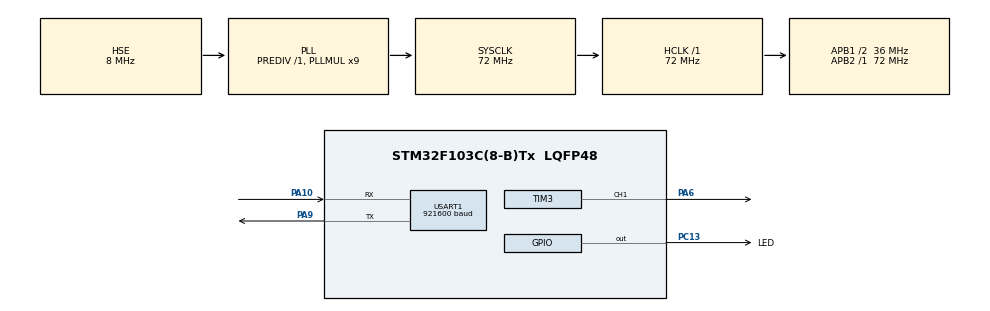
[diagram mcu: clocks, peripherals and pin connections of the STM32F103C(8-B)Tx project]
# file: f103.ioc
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Dma.Request0=TIM3_CH1/TRIG
Dma.TIM3_CH1/TRIG.0.Direction=DMA_MEMORY_TO_PERIPH
Dma.TIM3_CH1/TRIG.0.Instance=DMA1_Channel6
Dma.TIM3_CH1/TRIG.0.MemDataAlignment=DMA_MDATAALIGN_HALFWORD
Dma.TIM3_CH1/TRIG.0.MemInc=DMA_MINC_ENABLE
Dma.TIM3_CH1/TRIG.0.Mode=DMA_CIRCULAR
Dma.TIM3_CH1/TRIG.0.PeriphDataAlignment=DMA_PDATAALIGN_HALFWORD
Dma.TIM3_CH1/TRIG.0.PeriphInc=DMA_PINC_DISABLE
Dma.TIM3_CH1/TRIG.0.Priority=DMA_PRIORITY_LOW
Mcu.Family=STM32F1
Mcu.Name=STM32F103C(8-B)Tx
Mcu.Package=LQFP48
Mcu.UserConstants=LED_CNT,89
NVIC.DMA1_Channel6_IRQn=true\:0\:0\:false\:false\:true\:false\:true\:true
NVIC.PriorityGroup=NVIC_PRIORITYGROUP_4
PA10.Mode=Asynchronous
PA10.Signal=USART1_RX
PA13.Mode=Serial_Wire
PA13.Signal=SYS_JTMS-SWDIO
PA14.Mode=Serial_Wire
PA14.Signal=SYS_JTCK-SWCLK
PA6.Signal=S_TIM3_CH1
PA9.Mode=Asynchronous
PA9.Signal=USART1_TX
PC13-TAMPER-RTC.GPIO_Label=LED
PC13-TAMPER-RTC.GPIO_ModeDefaultOutputPP=GPIO_MODE_OUTPUT_OD
PC13-TAMPER-RTC.GPIO_PuPd=GPIO_NOPULL
PC13-TAMPER-RTC.PinState=GPIO_PIN_RESET
PC13-TAMPER-RTC.Signal=GPIO_Output
PD0-OSC_IN.Mode=HSE-External-Oscillator
PD0-OSC_IN.Signal=RCC_OSC_IN
PD1-OSC_OUT.Mode=HSE-External-Oscillator
PD1-OSC_OUT.Signal=RCC_OSC_OUT
ProjectManager.HeapSize=0x200
ProjectManager.StackSize=0x400
ProjectManager.TargetToolchain=STM32CubeIDE
RCC.AHBFreq_Value=72000000
RCC.APB1CLKDivider=RCC_HCLK_DIV2
RCC.APB1Freq_Value=36000000
RCC.APB1TimFreq_Value=72000000
RCC.APB2Freq_Value=72000000
RCC.APB2TimFreq_Value=72000000
RCC.HCLKFreq_Value=72000000
RCC.PLLMUL=RCC_PLL_MUL9
RCC.PLLSourceVirtual=RCC_PLLSOURCE_HSE
RCC.SYSCLKFreq_VALUE=72000000
RCC.SYSCLKSource=RCC_SYSCLKSOURCE_PLLCLK
RCC.USBFreq_Value=72000000
SH.S_TIM3_CH1.0=TIM3_CH1,PWM Generation1 CH1
TIM3.Channel-PWM\ Generation1\ CH1=TIM_CHANNEL_1
TIM3.Period=LED_CNT
USART1.BaudRate=921600
USART1.VirtualMode=VM_ASYNC
VP_TIM3_VS_ClockSourceINT.Mode=Internal
board=custom

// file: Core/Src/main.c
/* USER CODE BEGIN Header */
/**
 ******************************************************************************
 * @file           : main.c
 * @brief          : Main program body
 ******************************************************************************
 * @attention
 *
 * Copyright (c) 2022 STMicroelectronics.
 * All rights reserved.
 *
 * This software is licensed under terms that can be found in the LICENSE file
 * in the root directory of this software component.
 * If no LICENSE file comes with this software, it is provided AS-IS.
 *
 ******************************************************************************
 */
/* USER CODE END Header */
#include "main.h"

/* USER CODE BEGIN Includes */
#include "ws2812b.h"
/* USER CODE END Includes */

/* USER CODE BEGIN PD */
#define LEDS 64
/* USER CODE END PD */

TIM_HandleTypeDef htim3;
DMA_HandleTypeDef hdma_tim3_ch1_trig;

UART_HandleTypeDef huart1;

/* USER CODE BEGIN PV */

const uint8_t patterns[4][3] = {
        { 24, 0, 0 },
        { 0, 24, 0 },
        { 0, 0, 24 },
        { 10, 0, 24 }
};

uint8_t pattern = 0;

/* USER CODE END PV */

void SystemClock_Config(void);
static void MX_GPIO_Init(void);
static void MX_DMA_Init(void);
static void MX_USART1_UART_Init(void);
static void MX_TIM3_Init(void);

/* USER CODE BEGIN 0 */

// Send printf to uart1
int _write(int fd, char *ptr, int len) {
    HAL_StatusTypeDef hstatus;

    if (fd == 1 || fd == 2) {
        hstatus = HAL_UART_Transmit(&huart1, (uint8_t*) ptr, len, HAL_MAX_DELAY);
        if (hstatus == HAL_OK)
            return len;
        else
            return -1;
    }
    return -1;
}

/* USER CODE END 0 */

int main(void)
{

  /* MCU Configuration--------------------------------------------------------*/

  /* Reset of all peripherals, Initializes the Flash interface and the Systick. */
  HAL_Init();

  /* Configure the system clock */
  SystemClock_Config();

  /* Initialize all configured peripherals */
  MX_GPIO_Init();
  MX_DMA_Init();
  MX_USART1_UART_Init();
  MX_TIM3_Init();
  /* USER CODE BEGIN 2 */

    DBG("WS2812 Demo");

    ws2812b_init(&htim3, TIM_CHANNEL_1, 64);

  /* USER CODE END 2 */

  /* Infinite loop */
  /* USER CODE BEGIN WHILE */

    uint32_t now = 0, last_blink = 0, last_tick = 0, last_pattern = 0, loop_count = 0;

    while (1)
    {

        now = HAL_GetTick();

        if (now - last_pattern >= 200) {

            for (uint8_t led = 0; led < LEDS; ++led) {
                setLedValues(led, patterns[pattern][0], patterns[pattern][1], patterns[pattern][2]);
            }

            ++pattern;

            if (pattern >= sizeof(patterns) / sizeof(patterns[0]))
                pattern = 0;

            last_pattern = now;
        }

        if (now - last_blink >= 500) { // Every 500 ms
            HAL_GPIO_TogglePin(LED_GPIO_Port, LED_Pin);
            last_blink = now;
        }

        if (now - last_tick >= 1000) {
            DBG("Tick %lu (count = %lu)", now / 1000, loop_count);
            loop_count = 0;
            last_tick = now;
        }

        ++loop_count;

    /* USER CODE END WHILE */

    }
}

void SystemClock_Config(void)
{
  RCC_OscInitTypeDef RCC_OscInitStruct = {0};
  RCC_ClkInitTypeDef RCC_ClkInitStruct = {0};

  /** Initializes the RCC Oscillators according to the specified parameters
  * in the RCC_OscInitTypeDef structure.
  */
  RCC_OscInitStruct.OscillatorType = RCC_OSCILLATORTYPE_HSE;
  RCC_OscInitStruct.HSEState = RCC_HSE_ON;
  RCC_OscInitStruct.HSEPredivValue = RCC_HSE_PREDIV_DIV1;
  RCC_OscInitStruct.HSIState = RCC_HSI_ON;
  RCC_OscInitStruct.PLL.PLLState = RCC_PLL_ON;
  RCC_OscInitStruct.PLL.PLLSource = RCC_PLLSOURCE_HSE;
  RCC_OscInitStruct.PLL.PLLMUL = RCC_PLL_MUL9;
  if (HAL_RCC_OscConfig(&RCC_OscInitStruct) != HAL_OK)
  {
    Error_Handler();
  }

  /** Initializes the CPU, AHB and APB buses clocks
  */
  RCC_ClkInitStruct.ClockType = RCC_CLOCKTYPE_HCLK|RCC_CLOCKTYPE_SYSCLK
                              |RCC_CLOCKTYPE_PCLK1|RCC_CLOCKTYPE_PCLK2;
  RCC_ClkInitStruct.SYSCLKSource = RCC_SYSCLKSOURCE_PLLCLK;
  RCC_ClkInitStruct.AHBCLKDivider = RCC_SYSCLK_DIV1;
  RCC_ClkInitStruct.APB1CLKDivider = RCC_HCLK_DIV2;
  RCC_ClkInitStruct.APB2CLKDivider = RCC_HCLK_DIV1;

  if (HAL_RCC_ClockConfig(&RCC_ClkInitStruct, FLASH_LATENCY_2) != HAL_OK)
  {
    Error_Handler();
  }
}

static void MX_TIM3_Init(void)
{

  TIM_ClockConfigTypeDef sClockSourceConfig = {0};
  TIM_MasterConfigTypeDef sMasterConfig = {0};
  TIM_OC_InitTypeDef sConfigOC = {0};

  htim3.Instance = TIM3;
  htim3.Init.Prescaler = 0;
  htim3.Init.CounterMode = TIM_COUNTERMODE_UP;
  htim3.Init.Period = LED_CNT;
  htim3.Init.ClockDivision = TIM_CLOCKDIVISION_DIV1;
  htim3.Init.AutoReloadPreload = TIM_AUTORELOAD_PRELOAD_DISABLE;
  if (HAL_TIM_Base_Init(&htim3) != HAL_OK)
  {
    Error_Handler();
  }
  sClockSourceConfig.ClockSource = TIM_CLOCKSOURCE_INTERNAL;
  if (HAL_TIM_ConfigClockSource(&htim3, &sClockSourceConfig) != HAL_OK)
  {
    Error_Handler();
  }
  if (HAL_TIM_PWM_Init(&htim3) != HAL_OK)
  {
    Error_Handler();
  }
  sMasterConfig.MasterOutputTrigger = TIM_TRGO_RESET;
  sMasterConfig.MasterSlaveMode = TIM_MASTERSLAVEMODE_DISABLE;
  if (HAL_TIMEx_MasterConfigSynchronization(&htim3, &sMasterConfig) != HAL_OK)
  {
    Error_Handler();
  }
  sConfigOC.OCMode = TIM_OCMODE_PWM1;
  sConfigOC.Pulse = 0;
  sConfigOC.OCPolarity = TIM_OCPOLARITY_HIGH;
  sConfigOC.OCFastMode = TIM_OCFAST_DISABLE;
  if (HAL_TIM_PWM_ConfigChannel(&htim3, &sConfigOC, TIM_CHANNEL_1) != HAL_OK)
  {
    Error_Handler();
  }
  HAL_TIM_MspPostInit(&htim3);

}

static void MX_USART1_UART_Init(void)
{

  huart1.Instance = USART1;
  huart1.Init.BaudRate = 921600;
  huart1.Init.WordLength = UART_WORDLENGTH_8B;
  huart1.Init.StopBits = UART_STOPBITS_1;
  huart1.Init.Parity = UART_PARITY_NONE;
  huart1.Init.Mode = UART_MODE_TX_RX;
  huart1.Init.HwFlowCtl = UART_HWCONTROL_NONE;
  huart1.Init.OverSampling = UART_OVERSAMPLING_16;
  if (HAL_UART_Init(&huart1) != HAL_OK)
  {
    Error_Handler();
  }

}

static void MX_DMA_Init(void)
{

  /* DMA controller clock enable */
  __HAL_RCC_DMA1_CLK_ENABLE();

  /* DMA interrupt init */
  /* DMA1_Channel6_IRQn interrupt configuration */
  HAL_NVIC_SetPriority(DMA1_Channel6_IRQn, 0, 0);
  HAL_NVIC_EnableIRQ(DMA1_Channel6_IRQn);

}

static void MX_GPIO_Init(void)
{
  GPIO_InitTypeDef GPIO_InitStruct = {0};

  /* GPIO Ports Clock Enable */
  __HAL_RCC_GPIOC_CLK_ENABLE();
  __HAL_RCC_GPIOD_CLK_ENABLE();
  __HAL_RCC_GPIOA_CLK_ENABLE();

  /*Configure GPIO pin Output Level */
  HAL_GPIO_WritePin(LED_GPIO_Port, LED_Pin, GPIO_PIN_RESET);

  /*Configure GPIO pin : LED_Pin */
  GPIO_InitStruct.Pin = LED_Pin;
  GPIO_InitStruct.Mode = GPIO_MODE_OUTPUT_OD;
  GPIO_InitStruct.Pull = GPIO_NOPULL;
  GPIO_InitStruct.Speed = GPIO_SPEED_FREQ_LOW;
  HAL_GPIO_Init(LED_GPIO_Port, &GPIO_InitStruct);

}

void Error_Handler(void)
{
    __disable_irq();
    while (1)
    {
    }
}
